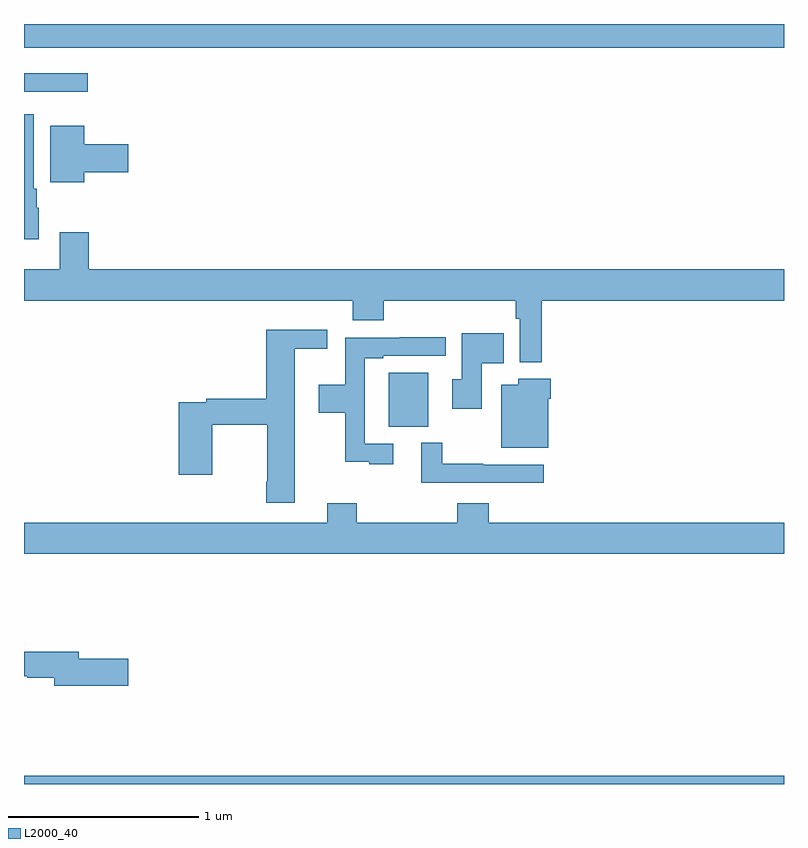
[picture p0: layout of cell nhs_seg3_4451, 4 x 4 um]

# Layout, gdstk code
import gdstk
lib = gdstk.Library(unit=1e-6, precision=1e-09)
def R(c, l, rs):  # rectangles x0, y0, x1, y1
    for r in rs: c.add(gdstk.rectangle(r[:2], r[2:], *l))
def P(c, l, *ps):  # polygons
    for p in ps: c.add(gdstk.Polygon(p, *l))
L2000_40 = (2000, 40)

nhs_seg3_4451 = lib.new_cell('nhs_seg3_4451')
R(nhs_seg3_4451, L2000_40, [(349,670.4,353,670.444), (350.921,672.281,351.127,672.565), (349,674.043,349.336,674.14), (349,674.276,353,674.4)])
P(nhs_seg3_4451, L2000_40, [(349.078,673.434),(349.066,673.434),(349.066,673.534),(349.051,673.534),(349.051,673.924),(349,673.924),(349,673.268),(349.078,673.268)],
  [(349.318,673.619),(349.549,673.619),(349.549,673.766),(349.318,673.766),(349.318,673.864),(349.139,673.864),(349.139,673.568),(349.318,673.568)],
  [(351.725,672.944),(353,672.944),(353,673.108),(349.34,673.108),(349.34,673.303),(349.187,673.303),(349.187,673.108),(349,673.108),(349,672.944),(350.729,672.944),(350.729,672.842),(350.894,672.842),(350.894,672.944),(351.589,672.944),(351.589,672.848),(351.609,672.848),(351.609,672.621),(351.725,672.621)],
  [(350.425,672.692),(350.596,672.692),(350.596,672.79),(350.276,672.79),(350.276,672.428),(349.96,672.428),(349.96,672.408),(349.814,672.408),(349.814,672.027),(349.992,672.027),(349.992,672.292),(350.281,672.292),(350.281,671.992),(350.276,671.992),(350.276,671.88),(350.425,671.88)],
  [(351.409,672.614),(351.524,672.614),(351.524,672.772),(351.305,672.772),(351.305,672.531),(351.255,672.531),(351.255,672.375),(351.409,672.375)],
  [(350.944,672.192),(350.793,672.192),(350.793,672.642),(350.89,672.642),(350.89,672.654),(351.22,672.654),(351.22,672.752),(350.977,672.752),(350.977,672.75),(350.692,672.75),(350.692,672.502),(350.55,672.502),(350.55,672.355),(350.692,672.355),(350.692,672.095),(350.816,672.095),(350.816,672.084),(350.944,672.084)],
  [(351.76,672.428),(351.773,672.428),(351.773,672.532),(351.602,672.532),(351.602,672.502),(351.512,672.502),(351.512,672.17),(351.76,672.17)],
  [(351.736,672.081),(351.416,672.081),(351.416,672.086),(351.202,672.086),(351.202,672.196),(351.092,672.196),(351.092,671.985),(351.736,671.985)],
  [(353,671.776),(351.446,671.776),(351.446,671.878),(351.281,671.878),(351.281,671.776),(350.75,671.776),(350.75,671.878),(350.597,671.878),(350.597,671.776),(349,671.776),(349,671.612),(353,671.612)],
  [(349.549,671.06),(349.288,671.06),(349.288,671.096),(349,671.096),(349,670.968),(349.017,670.968),(349.017,670.96),(349.16,670.96),(349.16,670.918),(349.549,670.918)])

lib.write_gds('nhs_seg3_4451.gds')
